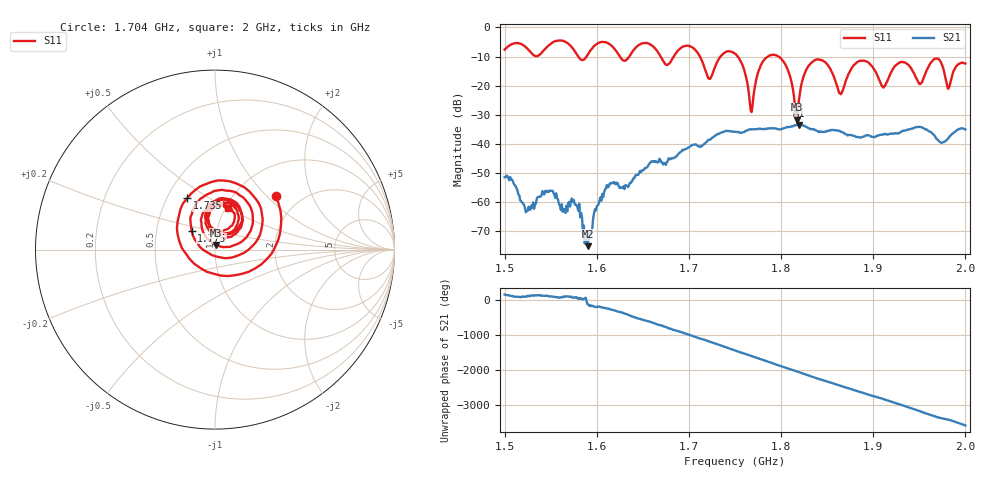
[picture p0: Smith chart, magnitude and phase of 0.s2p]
! NanoVNA-App by SYSJOINT et al v1.1.209 (+OD18)
! Date: 2026-01-21 14:48:02
! Start: 1,5GHz Stop: 2GHz Points: 501
! S-Parameter data: F S11 S21 S12 S22
# Hz S RI R 50
!  Frequency  S11_Real  S11_Imag  S21_Real  S21_Imag  S12_Real  S12_Imag  S22_Real  S22_Imag
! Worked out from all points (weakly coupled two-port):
!   501 points, 1.5 GHz to 2 GHz, reference 50 ohm
!   highest |S21| = -33.44 dB at 1.819 GHz (marker M1); lowest = -75.0 dB at 1.59 GHz (marker M2)
!   lowest |S11| = -31.7 dB at 1.817 GHz (marker M3), VSWR 1.05, Z = 50.6 + j2.55 ohm
!   |S11| at or under -10 dB: 1.712 GHz to 1.734 GHz (22.28 MHz wide, 1.29 % of centre); 1.753 GHz to 1.786 GHz (32.9 MHz wide, 1.86 % of centre); 1.797 GHz to end of sweep (the widest 3 of 6)
!   S12 and S22 are empty: the file has one direction only
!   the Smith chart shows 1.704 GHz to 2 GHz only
!   S11 on the Smith chart (normalised r, x): 1.704 GHz: 1.51, +1.13; 1.735 GHz: 0.63, +0.40; 1.775 GHz: 0.75, +0.16; 2 GHz: 1.03, +0.50
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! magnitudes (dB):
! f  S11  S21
! 1.5 GHz  -7.7  -51.4
! 1.523 GHz  -6.8  -63.4
! 1.551 GHz  -5.4  -56.1
! 1.584 GHz  -11.2  -65.1
! 1.59 GHz  -9.5  -75.0
! 1.613 GHz  -5.6  -54.5
! 1.667 GHz  -8.8  -46.2
! 1.704 GHz  -6.9  -40.3
! 1.722 GHz  -17.6  -38.5
! 1.735 GHz  -9.8  -36.1
! 1.75 GHz  -9.0  -35.8
! 1.767 GHz  -28.4  -34.9
! 1.775 GHz  -15.5  -34.8
! 1.8 GHz  -10.7  -35.0
! 1.817 GHz  -31.7  -33.5
! 1.819 GHz  -25.8  -33.4
! 1.834 GHz  -11.8  -35.0
! 1.864 GHz  -22.6  -35.5
! 1.885 GHz  -11.6  -37.8
! 1.917 GHz  -17.2  -36.7
! 1.982 GHz  -20.8  -37.8
! 2 GHz  -12.4  -35.0
